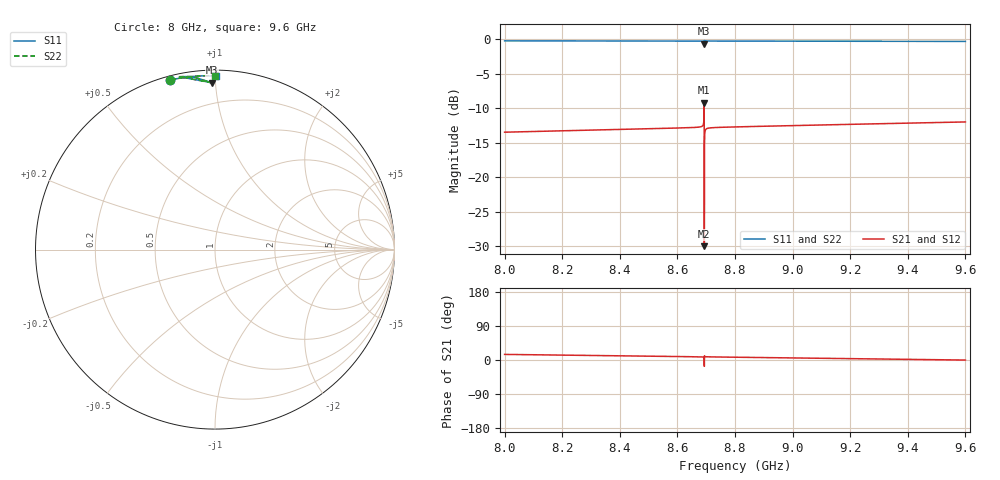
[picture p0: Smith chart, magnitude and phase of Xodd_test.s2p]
! Sonnet Data File
! From: emgraph Version : 16.52
! From Emgraph Data: Qubit_Xmon2_brg
! Data File Written: 10/23/2017 20:25:57
!< HDATE 10/23/2017 18:02:08
!< MDATE 10/23/2017 18:04:30
!< PARAMS
!< Lj = 11.0
!< Gap = 6.0
!< Pwid = 2000.0
!< Width = 10.0
!< Dist = 256.0000835
!< END PARAMS
# GHZ S MA R 34.70000
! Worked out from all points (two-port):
!   3201 points, 8 GHz to 9.6 GHz, reference 34.7 ohm
!   highest |S21| = -9.20 dB at 8.693 GHz (marker M1); lowest = -30.0 dB at 8.694 GHz (marker M2)
!   |S21| within 3 dB of the highest: 8.690941 GHz to 8.693072 GHz (2.131 MHz wide, 0.0245 % of centre); 9.346 GHz to end of sweep
!   lowest |S11| = -0.6 dB at 8.693 GHz (marker M3), VSWR 27.65, Z = 2.46 + j33.9 ohm
!   |S11| at or under -10 dB: nowhere
!   |S22| runs from -0.6 to -0.1 dB; largest |S21 - S12| = 0
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8  0.9772 104.7  0.2122 14.8  0.2122 14.8  0.9772 104.8
!< P1 F=8.0 Eeff=(5.12103945 -5.3706e-5) Z0=(34.7207096 -7.2038e-5) R=0.0 C=0.0
!< P2 F=8.0 Eeff=(5.12103945 -5.3706e-5) Z0=(34.7207096 -7.2038e-5) R=0.0 C=0.0
8.267  0.9758 102.2  0.2189 12.3  0.2189 12.3  0.9758 102.3
8.5335  0.9742 99.7  0.2257 9.8  0.2257 9.8  0.9742 99.8
8.668  0.9731 98.4  0.2303 8.5  0.2303 8.5  0.9731 98.5
8.6815  0.9726 98.2  0.2324 8.2  0.2324 8.2  0.9726 98.3
8.684  0.9724 98.1  0.2333 8.2  0.2333 8.2  0.9724 98.2
8.685  0.9723 98.1  0.2338 8.1  0.2338 8.1  0.9723 98.2
8.6855  0.9722 98.0  0.2341 8.1  0.2341 8.1  0.9722 98.1
8.686  0.9721 98.0  0.2345 8.1  0.2345 8.1  0.9721 98.1
8.688  0.9716 97.9  0.2365 7.9  0.2365 7.9  0.9716 98.0
8.693  0.9302 91.1  0.3469 0.0  0.3469 0.0  0.9304 91.4
8.6935  0.9804 110.2  0.03156 -16.8  0.03156 -16.8  0.981 110.0
8.6995  0.9747 98.6  0.2233 8.6  0.2233 8.6  0.9747 98.6
8.701  0.9744 98.5  0.2246 8.5  0.2246 8.5  0.9744 98.6
8.7015  0.9744 98.5  0.2249 8.5  0.2249 8.5  0.9744 98.5
8.702  0.9743 98.5  0.2252 8.5  0.2252 8.5  0.9743 98.5
8.7025  0.9742 98.4  0.2255 8.5  0.2255 8.5  0.9742 98.5
8.709  0.9738 98.3  0.2274 8.3  0.2274 8.3  0.9738 98.3
8.8  0.9728 97.3  0.2317 7.3  0.2317 7.3  0.9728 97.4
9.067  0.9711 94.8  0.2386 4.8  0.2386 4.8  0.9711 94.9
9.3335  0.9695 92.3  0.2452 2.3  0.2452 2.3  0.9695 92.4
9.6  0.9678 89.8  0.2519 -0.2  0.2519 -0.2  0.9678 89.9
